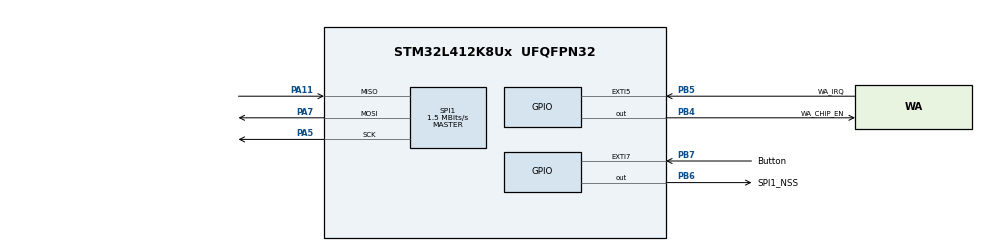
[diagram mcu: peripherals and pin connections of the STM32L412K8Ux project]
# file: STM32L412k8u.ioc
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ADC1.Channel-8\#ChannelRegularConversion=ADC_CHANNEL_TEMPSENSOR
ADC1.ClockPrescaler=ADC_CLOCK_SYNC_PCLK_DIV1
ADC1.ContinuousConvMode=ENABLE
ADC1.ExternalTrigConv=ADC_EXTERNALTRIG_T15_TRGO
ADC1.ExternalTrigConvEdge=ADC_EXTERNALTRIGCONVEDGE_FALLING
ADC1.LowPowerAutoWait=DISABLE
ADC1.Mode=ADC_MODE_INDEPENDENT
ADC1.NbrOfConversionFlag=1
ADC1.OffsetNumber-8\#ChannelRegularConversion=ADC_OFFSET_NONE
ADC1.Overrun=ADC_OVR_DATA_OVERWRITTEN
ADC1.Rank-8\#ChannelRegularConversion=1
ADC1.SamplingTime-8\#ChannelRegularConversion=ADC_SAMPLETIME_2CYCLES_5
ADC1.master=1
IWDG.Prescaler=IWDG_PRESCALER_256
Mcu.Family=STM32L4
Mcu.Name=STM32L412K8Ux
Mcu.Package=UFQFPN32
Mcu.UserConstants=MAX_TIMEOUT,10000
NVIC.EXTI9_5_IRQn=true\:7\:0\:true\:false\:true\:true\:true
NVIC.PriorityGroup=NVIC_PRIORITYGROUP_4
NVIC.RTC_Alarm_IRQn=true\:0\:0\:false\:false\:true\:true\:true
NVIC.RTC_WKUP_IRQn=true\:7\:0\:true\:false\:true\:true\:true
NVIC.TIM6_IRQn=true\:0\:0\:false\:false\:true\:true\:true
PA11.Mode=Full_Duplex_Master
PA11.Signal=SPI1_MISO
PA13\ (JTMS/SWDIO).Mode=Serial_Wire
PA13\ (JTMS/SWDIO).Signal=SYS_JTMS-SWDIO
PA14\ (JTCK/SWCLK).Mode=Serial_Wire
PA14\ (JTCK/SWCLK).Signal=SYS_JTCK-SWCLK
PA5.Mode=Full_Duplex_Master
PA5.Signal=SPI1_SCK
PA7.Mode=Full_Duplex_Master
PA7.Signal=SPI1_MOSI
PB4\ (NJTRST).GPIO_Label=WA_CHIP_EN
PB4\ (NJTRST).PinState=GPIO_PIN_SET
PB4\ (NJTRST).Signal=GPIO_Output
PB5.GPIO_Label=WA_IRQ
PB5.GPIO_ModeDefaultEXTI=GPIO_MODE_IT_RISING
PB5.GPIO_PuPd=GPIO_PULLDOWN
PB5.Signal=GPXTI5
PB6.GPIO_Label=SPI1_NSS
PB6.GPIO_ModeDefaultOutputPP=GPIO_MODE_OUTPUT_PP
PB6.GPIO_PuPd=GPIO_NOPULL
PB6.PinState=GPIO_PIN_RESET
PB6.Signal=GPIO_Output
PB7.GPIO_Label=Button
PB7.GPIO_ModeDefaultEXTI=GPIO_MODE_IT_RISING_FALLING
PB7.GPIO_PuPd=GPIO_PULLUP
PB7.Signal=GPXTI7
PC14-OSC32_IN\ (PC14).Mode=LSE-External-Oscillator
PC14-OSC32_IN\ (PC14).Signal=RCC_OSC32_IN
PC15-OSC32_OUT\ (PC15).Mode=LSE-External-Oscillator
PC15-OSC32_OUT\ (PC15).Signal=RCC_OSC32_OUT
ProjectManager.HeapSize=0x200
ProjectManager.StackSize=0x400
ProjectManager.TargetToolchain=EWARM V8.32
RCC.ADCFreq_Value=48000000
RCC.AHBFreq_Value=48000000
RCC.APB1Freq_Value=48000000
RCC.APB1TimFreq_Value=48000000
RCC.APB2Freq_Value=48000000
RCC.APB2TimFreq_Value=48000000
RCC.CortexFreq_Value=48000000
RCC.HCLKFreq_Value=48000000
RCC.HSE_VALUE=8000000
RCC.HSI48_VALUE=48000000
RCC.HSI_VALUE=16000000
RCC.LPTIM1CLockSelection=RCC_LPTIM1CLKSOURCE_LSE
RCC.LPTIM2CLockSelection=RCC_LPTIM2CLKSOURCE_LSE
RCC.LPUART1CLockSelection=RCC_LPUART1CLKSOURCE_LSE
RCC.MSIClockRange=RCC_MSIRANGE_11
RCC.MSI_VALUE=48000000
RCC.PLLN=10
RCC.PREFETCH_ENABLE=1
RCC.RTCClockSelection=RCC_RTCCLKSOURCE_LSE
RCC.SYSCLKFreq_VALUE=48000000
RCC.USBFreq_Value=48000000
RCC.VCOOutputFreq_Value=480000000
RTC.Alarm=RTC_ALARM_A
RTC.AlarmMaskDateWeekDay=RTC_ALARMMASK_DATEWEEKDAY
RTC.AlarmMaskHours=RTC_ALARMMASK_HOURS
RTC.AlarmMaskMinutes=RTC_ALARMMASK_MINUTES
RTC.AlarmMaskSeconds=RTC_ALARMMASK_SECONDS
RTC.AlarmSubSecondMask=RTC_ALARMSUBSECONDMASK_NONE
RTC.AsynchPrediv=31
RTC.SubSeconds_A=1
RTC.SynchPrediv=1023
RTC.WakeUpClock=RTC_WAKEUPCLOCK_RTCCLK_DIV16
RTC.WakeUpCounter=2047
SPI1.BaudRatePrescaler=SPI_BAUDRATEPRESCALER_32
SPI1.CalculateBaudRate=1.5 MBits/s
SPI1.DataSize=SPI_DATASIZE_8BIT
SPI1.Direction=SPI_DIRECTION_2LINES
SPI1.Mode=SPI_MODE_MASTER
SPI1.NSSPMode=SPI_NSS_PULSE_DISABLE
SPI1.VirtualType=VM_MASTER
TIM6.Period=1
VP_ADC1_TempSens_Input.Mode=IN-TempSens
VP_ADC1_Vref_Input.Mode=IN-Vrefint
VP_CRC_VS_CRC.Mode=CRC_Activate
VP_IWDG_VS_IWDG.Mode=IWDG_Activate
VP_RTC_VS_RTC_Activate.Mode=RTC_Enabled
VP_RTC_VS_RTC_Alarm_A_Intern.Mode=Alarm A
VP_RTC_VS_RTC_Calendar.Mode=RTC_Calendar
VP_RTC_VS_RTC_WakeUp_intern.Mode=WakeUp
VP_TIM6_VS_ClockSourceINT.Mode=Enable_Timer
board=custom

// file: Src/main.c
/* USER CODE BEGIN Header */
/**
  ******************************************************************************
  * @file           : main.c
  * @brief          : Main program body
  ******************************************************************************
  * @attention
  *
  * <h2><center>&copy; Copyright (c) 2020 STMicroelectronics.
  * All rights reserved.</center></h2>
  *
  * This software component is licensed by ST under BSD 3-Clause license,
  * the "License"; You may not use this file except in compliance with the
  * License. You may obtain a copy of the License at:
  *                        opensource.org/licenses/BSD-3-Clause
  *
  ******************************************************************************
  */
/* USER CODE END Header */
#include "main.h"
#include "adc.h"
#include "crc.h"
#include "iwdg.h"
#include "rtc.h"
#include "spi.h"
#include "tim.h"
#include "gpio.h"

/* USER CODE BEGIN Includes */
#include "cb.h"
#include "libmfwtimer.h"
#include "meter.h"
#include "radio.h"
#include "scheduler_hal.h"
#include "water7.h"
/* USER CODE END Includes */

/* USER CODE BEGIN PD */
#define TEST_LINK_SEND_PERIOD (60)
#define TEST_LINK_TIMEOUT (10 * TEST_LINK_SEND_PERIOD)
/* USER CODE END PD */

/* USER CODE BEGIN PV */

/*!
 * \brief every second scheduler descriptor
 *
 */
struct scheduler_desc everysec_desc;
/*!
 * \brief for time difference
 *
 */
/* USER CODE END PV */

void SystemClock_Config(void);
/* USER CODE BEGIN PFP */
void EnterRunMode_LowPower_DownTo2MHz(void);
void EnterRunMode_UpTo80MHz(void);
/* USER CODE END PFP */

/* USER CODE BEGIN 0 */
/*!
 * \brief set water7 protocol and meter configuration
 *
 */
void waterAndMeterInit(void)
{
  water7_params_str *water7_params_p = Water7GetParams();
  meter_params_str *meter_params_p = 0; // meter_GetParams();
  /// \todo fix this
  get_saved_param(water7_params_p, meter_params_p);

  Water7PushFunc(WATER7_FUNC_SET_DATA, water7set_data);
  Water7PushFunc(WATER7_FUNC_GET_DATA, water7get_data);
  Water7PushFunc(WATER7_FUNC_SAVE_DATA, water7save_data);
  Water7PushFuncRfl(WATER7_FUNC_RFL, water7_rfl);

  Water7Init(water7_params_p);
  /// \todo fix this
  meter_init(meter_params_p, meter_inc_cb);
  Water7SendEvent(EVENT_RESET, 0);
}

/*!
 * \brief send link test info
 *
 * \param inc increment in seconds
 */
void test_link(uint8_t inc)
{
  static uint32_t test_link_prev, test_link_cnt = 0;
  //  if (inc)
  //  {
  if (test_link_cnt < TEST_LINK_TIMEOUT)
  {
    if (test_link_cnt >= test_link_prev + TEST_LINK_SEND_PERIOD)
    {
      Water7SendEvent(EVENT_TEST_LINK, test_link_cnt);
      test_link_prev = test_link_cnt;
    }
    test_link_cnt += inc;
  }
  //  }
  //  else
  //    test_link_cnt = test_link_prev = 0;
}

void SendErrors(uint8_t errors)
{
  if (errors & METER_ERROR_LEAK)
  {
    Water7SendEvent(EVENT_LEAK, 0);
  }
  if (errors & METER_ERROR_BREAK)
  {
    Water7SendEvent(EVENT_BREAK, 0);
  }
  if (errors & METER_ERROR_FROST)
  {
    Water7SendEvent(EVENT_FROST, 0);
  }
  if (errors & METER_ERROR_SENSOR)
  {
    Water7SendEvent(EVENT_SENSOR, 0);
  }
}
/*!
 * \brief every second tick
 *
 * \param desc
 */
void EverySec(struct scheduler_desc *desc)
{
    //  NBFI_Main_Level_Loop();
    //  time_t timeNow = RTC_GetSeconds();
    //  Water7OneSec(RTC_GetTime());
    //
    //  uint8_t isOk = MeterEverySecHandler(timeNow);
    //  test_link(timeNow - SecondsOld);
    //  SecondsOld = timeNow;
}

/*!
 * \brief send complete callback from nb-fi
 *
 * \param ul
 */
void nbfi_send_complete(nbfi_ul_sent_status_t ul)
{
}

/*!
 * \brief receive complete callback from nb-fi
 *
 * \param data
 * \param length
 */
void nbfi_receive_complete(uint8_t *data, uint16_t length)
{
  Water7RXcallback(data, length);
}
/* USER CODE END 0 */

int main(void)
{
  /* USER CODE BEGIN 1 */
#ifdef DEBUG
//  LL_DBGMCU_EnableDBGStopMode();
//  LL_DBGMCU_APB1_GRP1_FreezePeriph(LL_DBGMCU_APB1_GRP1_RTC_STOP);
#endif
  /* USER CODE END 1 */

  /* MCU Configuration--------------------------------------------------------*/

  /* Reset of all peripherals, Initializes the Flash interface and the Systick. */

  LL_APB2_GRP1_EnableClock(LL_APB2_GRP1_PERIPH_SYSCFG);
  LL_APB1_GRP1_EnableClock(LL_APB1_GRP1_PERIPH_PWR);

  NVIC_SetPriorityGrouping(NVIC_PRIORITYGROUP_4);

  /* System interrupt init*/

  /* Configure the system clock */
  SystemClock_Config();

  /* Initialize all configured peripherals */
  MX_GPIO_Init();
  MX_ADC1_Init();
  MX_CRC_Init();
  MX_RTC_Init();
  MX_SPI1_Init();
  MX_IWDG_Init();
  MX_TIM6_Init();
  /* USER CODE BEGIN 2 */
  IWDG_Init();
  /* Ensure that MSI is wake-up system clock */
  LL_RCC_SetClkAfterWakeFromStop(LL_RCC_STOP_WAKEUPCLOCK_MSI);

  LL_PWR_SetPowerMode(LL_PWR_MODE_STOP2);
  LL_LPM_EnableDeepSleep();

  SPI_Activate();
  radio_init();
  radio_load_id_and_key_of_sr_server(&sr_server_modem_id_and_key);
//  waterAndMeterInit();
  scheduler_add_task(&everysec_desc, EverySec, RUN_CONTINUOSLY_RELATIVE, SECONDS(1));

  /* USER CODE END 2 */

  /* Infinite loop */
  while (1)
  {

    /* USER CODE BEGIN 3 */
      IWDG_Refresh();
      NBFI_Main_Level_Loop();
      if (NBFi_can_sleep() && scheduler_can_sleep())
      {
          __WFI();//HAL_PWR_EnterSTOPMode(PWR_LOWPOWERREGULATOR_ON, PWR_SLEEPENTRY_WFI);
      }
      else
      {
          //HAL_PWR_EnterSLEEPMode(PWR_MAINREGULATOR_ON, PWR_SLEEPENTRY_WFI);
      }
  }
  /* USER CODE END 3 */
}

void SystemClock_Config(void)
{
  LL_FLASH_SetLatency(LL_FLASH_LATENCY_2);
  while(LL_FLASH_GetLatency()!= LL_FLASH_LATENCY_2)
  {
  }
  LL_PWR_SetRegulVoltageScaling(LL_PWR_REGU_VOLTAGE_SCALE1);
  LL_RCC_LSI_Enable();

   /* Wait till LSI is ready */
  while(LL_RCC_LSI_IsReady() != 1)
  {

  }
  LL_RCC_MSI_Enable();

   /* Wait till MSI is ready */
  while(LL_RCC_MSI_IsReady() != 1)
  {

  }
  LL_RCC_MSI_EnableRangeSelection();
  LL_RCC_MSI_SetRange(LL_RCC_MSIRANGE_11);
  LL_RCC_MSI_SetCalibTrimming(0);
  LL_PWR_EnableBkUpAccess();
  LL_RCC_LSE_SetDriveCapability(LL_RCC_LSEDRIVE_LOW);
  LL_RCC_LSE_Enable();

   /* Wait till LSE is ready */
  while(LL_RCC_LSE_IsReady() != 1)
  {

  }
  LL_RCC_MSI_EnablePLLMode();
  if(LL_RCC_GetRTCClockSource() != LL_RCC_RTC_CLKSOURCE_LSE)
  {
    LL_RCC_ForceBackupDomainReset();
    LL_RCC_ReleaseBackupDomainReset();
    LL_RCC_SetRTCClockSource(LL_RCC_RTC_CLKSOURCE_LSE);
  }
  LL_RCC_EnableRTC();
  LL_RCC_SetSysClkSource(LL_RCC_SYS_CLKSOURCE_MSI);

   /* Wait till System clock is ready */
  while(LL_RCC_GetSysClkSource() != LL_RCC_SYS_CLKSOURCE_STATUS_MSI)
  {

  }
  LL_RCC_SetAHBPrescaler(LL_RCC_SYSCLK_DIV_1);
  LL_RCC_SetAPB1Prescaler(LL_RCC_APB1_DIV_1);
  LL_RCC_SetAPB2Prescaler(LL_RCC_APB2_DIV_1);

  LL_Init1msTick(48000000);

  LL_SetSystemCoreClock(48000000);
}

void Error_Handler(void)
{
}

/************************ (C) COPYRIGHT STMicroelectronics *****END OF FILE****/
